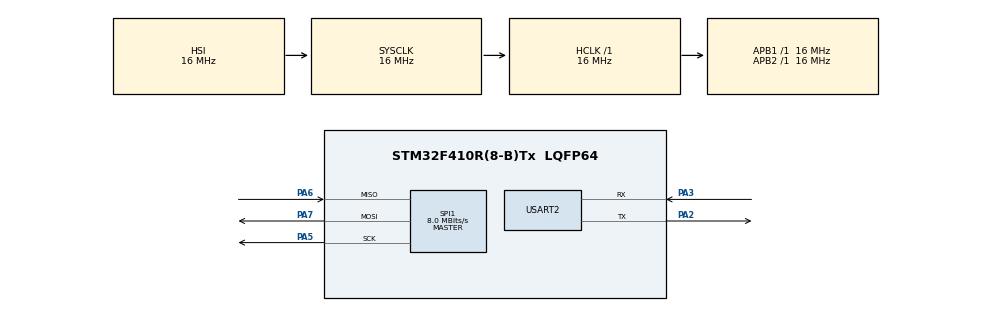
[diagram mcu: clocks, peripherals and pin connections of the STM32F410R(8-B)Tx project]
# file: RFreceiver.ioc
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Mcu.Family=STM32F4
Mcu.Name=STM32F410R(8-B)Tx
Mcu.Package=LQFP64
NVIC.PriorityGroup=NVIC_PRIORITYGROUP_4
PA2.Mode=Asynchronous
PA2.Signal=USART2_TX
PA3.Mode=Asynchronous
PA3.Signal=USART2_RX
PA5.Mode=Full_Duplex_Master
PA5.Signal=SPI1_SCK
PA6.Mode=Full_Duplex_Master
PA6.Signal=SPI1_MISO
PA7.Mode=Full_Duplex_Master
PA7.Signal=SPI1_MOSI
ProjectManager.HeapSize=0x200
ProjectManager.StackSize=0x400
ProjectManager.TargetToolchain=STM32CubeIDE
RCC.AHBFreq_Value=16000000
RCC.APB1Freq_Value=16000000
RCC.APB2Freq_Value=16000000
RCC.CortexFreq_Value=16000000
RCC.HSE_VALUE=25000000
RCC.HSI_VALUE=16000000
RCC.LSE_VALUE=32768
RCC.SYSCLKFreq_VALUE=16000000
RCC.VCOOutputFreq_Value=192000000
SPI1.CalculateBaudRate=8.0 MBits/s
SPI1.Direction=SPI_DIRECTION_2LINES
SPI1.Mode=SPI_MODE_MASTER
SPI1.VirtualType=VM_MASTER
USART2.VirtualMode=VM_ASYNC
board=custom

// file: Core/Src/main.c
/* USER CODE BEGIN Header */
/**
  ******************************************************************************
  * @file           : main.c
  * @brief          : Main program body
  ******************************************************************************
  * @attention
  *
  * Copyright (c) 2026 STMicroelectronics.
  * All rights reserved.
  *
  * This software is licensed under terms that can be found in the LICENSE file
  * in the root directory of this software component.
  * If no LICENSE file comes with this software, it is provided AS-IS.
  *
  ******************************************************************************
  */
/* USER CODE END Header */
#include "main.h"

/* USER CODE BEGIN Includes */
#include "cc1101.h"
#include <stdio.h>
/* USER CODE END Includes */

SPI_HandleTypeDef hspi1;

UART_HandleTypeDef huart2;

void SystemClock_Config(void);
static void MX_GPIO_Init(void);
static void MX_SPI1_Init(void);
static void MX_USART2_UART_Init(void);

/* USER CODE BEGIN 0 */
int __io_putchar(int ch) {            /* retarget printf to the ST-Link VCP */
    HAL_UART_Transmit(&huart2, (uint8_t*)&ch, 1, HAL_MAX_DELAY);
    return ch;
}
/* USER CODE END 0 */

int main(void)
{

  /* MCU Configuration--------------------------------------------------------*/

  /* Reset of all peripherals, Initializes the Flash interface and the Systick. */
  HAL_Init();

  /* Configure the system clock */
  SystemClock_Config();

  /* Initialize all configured peripherals */
  MX_GPIO_Init();
  MX_SPI1_Init();
  MX_USART2_UART_Init();

  /* Infinite loop */
  /* USER CODE BEGIN WHILE */

  cc1101_init(&hspi1);

  /* MUST come after cc1101_init -- that call is what hands the driver the SPI
     handle. Read the chip before it and every transfer is a no-op against a
     NULL handle, which reads back as a very convincing 00/00.
     PARTNUM is 0x00 on a healthy CC1101; VERSION is the liveness check and
     should be 0x14 (0x04 on some batches). */
  printf("PARTNUM=%02X VERSION=%02X\r\n",
		  cc1101_read_status(0x30), cc1101_read_status(0x31));

  cc1101_pkt_t p;
  uint8_t expect = 0; bool first = true;
  while (1) {
      if (cc1101_rx_poll(&p)) {
          printf("len=%u %02X %02X seq=%3u  crc=%d rssi=%ddBm lqi=%u",
                 p.len, p.payload[0], p.payload[1], p.payload[2],
                 p.crc_ok, cc1101_rssi_dbm(p.rssi_raw), p.lqi);
          if (!first && p.payload[2] != expect) printf("  <-- GAP");
          printf("\r\n");
          expect = p.payload[2] + 1; first = false;
      }
  }
    /* USER CODE END WHILE */

}

void SystemClock_Config(void)
{
  RCC_OscInitTypeDef RCC_OscInitStruct = {0};
  RCC_ClkInitTypeDef RCC_ClkInitStruct = {0};

  /** Configure the main internal regulator output voltage
  */
  __HAL_RCC_PWR_CLK_ENABLE();
  __HAL_PWR_VOLTAGESCALING_CONFIG(PWR_REGULATOR_VOLTAGE_SCALE1);

  /** Initializes the RCC Oscillators according to the specified parameters
  * in the RCC_OscInitTypeDef structure.
  */
  RCC_OscInitStruct.OscillatorType = RCC_OSCILLATORTYPE_HSI;
  RCC_OscInitStruct.HSIState = RCC_HSI_ON;
  RCC_OscInitStruct.HSICalibrationValue = RCC_HSICALIBRATION_DEFAULT;
  RCC_OscInitStruct.PLL.PLLState = RCC_PLL_NONE;
  if (HAL_RCC_OscConfig(&RCC_OscInitStruct) != HAL_OK)
  {
    Error_Handler();
  }

  /** Initializes the CPU, AHB and APB buses clocks
  */
  RCC_ClkInitStruct.ClockType = RCC_CLOCKTYPE_HCLK|RCC_CLOCKTYPE_SYSCLK
                              |RCC_CLOCKTYPE_PCLK1|RCC_CLOCKTYPE_PCLK2;
  RCC_ClkInitStruct.SYSCLKSource = RCC_SYSCLKSOURCE_HSI;
  RCC_ClkInitStruct.AHBCLKDivider = RCC_SYSCLK_DIV1;
  RCC_ClkInitStruct.APB1CLKDivider = RCC_HCLK_DIV1;
  RCC_ClkInitStruct.APB2CLKDivider = RCC_HCLK_DIV1;

  if (HAL_RCC_ClockConfig(&RCC_ClkInitStruct, FLASH_LATENCY_0) != HAL_OK)
  {
    Error_Handler();
  }
}

static void MX_SPI1_Init(void)
{

  /* SPI1 parameter configuration*/
  hspi1.Instance = SPI1;
  hspi1.Init.Mode = SPI_MODE_MASTER;
  hspi1.Init.Direction = SPI_DIRECTION_2LINES;
  hspi1.Init.DataSize = SPI_DATASIZE_8BIT;
  hspi1.Init.CLKPolarity = SPI_POLARITY_LOW;
  hspi1.Init.CLKPhase = SPI_PHASE_1EDGE;
  hspi1.Init.NSS = SPI_NSS_SOFT;
  hspi1.Init.BaudRatePrescaler = SPI_BAUDRATEPRESCALER_2;
  hspi1.Init.FirstBit = SPI_FIRSTBIT_MSB;
  hspi1.Init.TIMode = SPI_TIMODE_DISABLE;
  hspi1.Init.CRCCalculation = SPI_CRCCALCULATION_DISABLE;
  hspi1.Init.CRCPolynomial = 15;
  if (HAL_SPI_Init(&hspi1) != HAL_OK)
  {
    Error_Handler();
  }

}

static void MX_USART2_UART_Init(void)
{

  huart2.Instance = USART2;
  huart2.Init.BaudRate = 115200;
  huart2.Init.WordLength = UART_WORDLENGTH_8B;
  huart2.Init.StopBits = UART_STOPBITS_1;
  huart2.Init.Parity = UART_PARITY_NONE;
  huart2.Init.Mode = UART_MODE_TX_RX;
  huart2.Init.HwFlowCtl = UART_HWCONTROL_NONE;
  huart2.Init.OverSampling = UART_OVERSAMPLING_16;
  if (HAL_UART_Init(&huart2) != HAL_OK)
  {
    Error_Handler();
  }

}

static void MX_GPIO_Init(void)
{

  /* GPIO Ports Clock Enable */
  __HAL_RCC_GPIOA_CLK_ENABLE();

}

void Error_Handler(void)
{
  __disable_irq();
  while (1)
  {
  }
}
